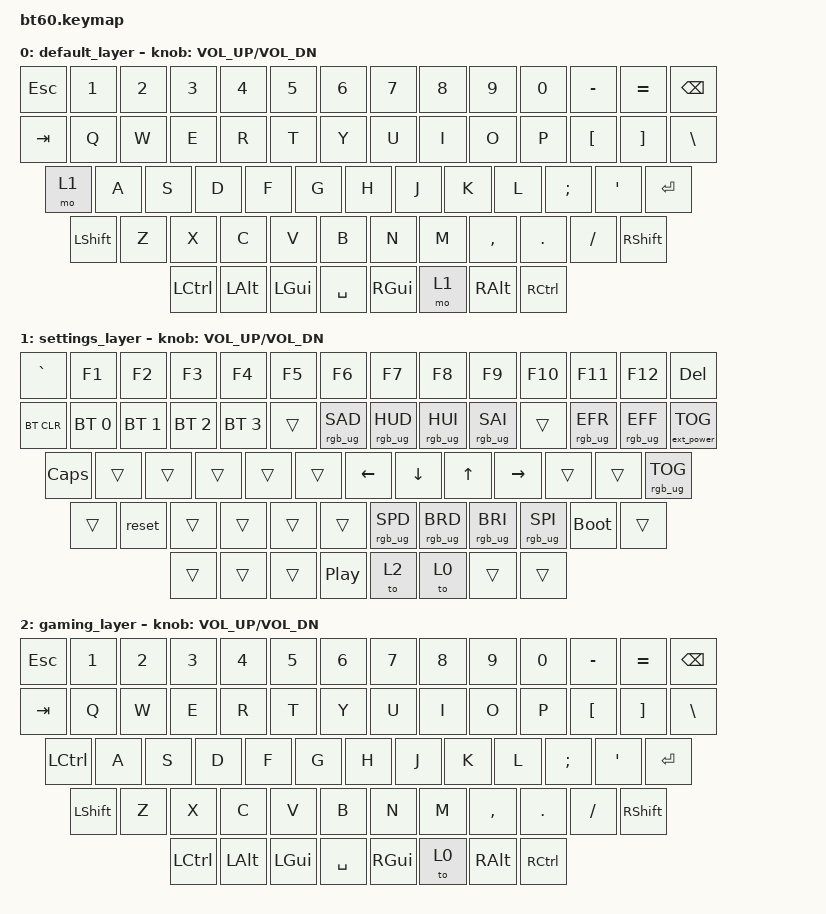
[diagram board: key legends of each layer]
#include <behaviors.dtsi>
#include <dt-bindings/zmk/keys.h>
#include <dt-bindings/zmk/bt.h>
#include <dt-bindings/zmk/rgb.h>
#include <dt-bindings/zmk/backlight.h>
#include <dt-bindings/zmk/outputs.h>
#include <dt-bindings/zmk/reset.h>
#include <dt-bindings/zmk/ext_power.h>

/ {
	keymap {
		compatible = "zmk,keymap";

		default_layer {
				// ------------------------------------------------------------------------------------------
				// |  `  |  1  |  2  |  3  |  4  |  5  |  6  |  7  |  8  |  9  |  0  |  -  |  =  |   BKSP
				// | TAB  |  Q  |  W  |  E  |  R  |  T  |  Y  |  U  |  I  |  O  |  P  |  [  |  ]  |   |
				// | MO(1)  |  A  |  S  |  D  |  F  |  G  |  H  |  J  |  K  |  L  |  ;  |  '  |     ENTER
				// |  SHIFT    |  Z  |  X  |  C  |  V  |  B  |  N  |  M  |  ,  |  .  | /   |      SHIFT
				// |  CTL  |  ALT  |  WIN  |            SPACE               |  WIN  | MO(1) |  ALT  |  CTRL
				// ------------------------------------------------------------------------------------------
			bindings = <

				&kp ESC &kp N1 &kp N2 &kp N3 &kp N4 &kp N5 &kp N6 &kp N7 &kp  N8   &kp  N9 &kp  N0  &kp MINUS &kp EQUAL &kp BSPC
				&kp TAB  &kp Q  &kp W  &kp E  &kp R  &kp T  &kp Y  &kp U  &kp  I    &kp  O  &kp  P   &kp LBKT &kp RBKT   &kp BSLH
				&mo 1    &kp A  &kp S  &kp D  &kp F  &kp G  &kp H  &kp J  &kp  K    &kp  L  &kp SEMI &kp SQT            &kp RET
				&kp LSHFT  &kp Z  &kp X  &kp C  &kp V  &kp B  &kp N  &kp M  &kp COMMA &kp DOT &kp FSLH                   &kp RSHFT
				&kp LCTRL &kp LALT &kp LGUI            &kp SPACE                          &kp RGUI  &mo 1  &kp RALT   &kp RCTRL
			>;
			sensor-bindings = <&inc_dec_kp C_VOL_UP C_VOL_DN>;
		};
		settings_layer {
// --------------------------------------------------------------------------------------------------------------------------------------
// |   `~   |   F1   |   F2   |   F3   |   F4   |   F5   |   F6   |   F7   |   F8   |   F9   |  F10   |  F11   |  F12   |      DEL      |
// |   BTCLR    |  BT 0  |  BT 1  |  BT 2  |  BT 3  |        | SATDN  | HUEDN  | HUEUP  | SATUP  |        | EF REV | EF FWD | EXTPW TOG |
// |     CAPS     |        |        |        |        |        |   LT   |   DN   |   UP   |   RT   |        |        |     RGB TOG      |
// |                  | RESET  |        |        |        |        | SPDDN  | BRIDN  | BRIUP  | SPDUP  | BT LDR |                       |
// |          |          |          |                      PLAY/PAUSE                        |   TO(2)  |  TO(0)   |         |          |
// --------------------------------------------------------------------------------------------------------------------------------------
			bindings = <
	&kp GRAVE &kp F1    &kp F2          &kp F3         &kp F4      &kp F5  &kp F6          &kp F7           &kp F8          &kp F9            &kp F10  &kp F11          &kp F12  &kp DEL
	&bt BT_CLR  &bt BT_SEL 0 &bt BT_SEL 1 &bt BT_SEL 2 &bt BT_SEL 3 &trans &rgb_ug RGB_SAD &rgb_ug RGB_HUD  &rgb_ug RGB_HUI &rgb_ug RGB_SAI   &trans   &rgb_ug RGB_EFR  &rgb_ug RGB_EFF &ext_power EP_TOG
	&kp CLCK      &trans       &trans       &trans       &trans       &trans &kp LEFT        &kp DOWN          &kp UP          &kp RIGHT        &trans   &trans           &rgb_ug RGB_TOG
	&trans         &reset       &trans       &trans       &trans       &trans                 &rgb_ug RGB_SPD   &rgb_ug RGB_BRD   &rgb_ug RGB_BRI  &rgb_ug RGB_SPI   &bootloader        &trans
	&trans          &trans    &trans                                          &kp C_PP                                             &to 2             &to 0            &trans              &trans
			>;
			sensor-bindings = <&inc_dec_kp C_VOL_UP C_VOL_DN>;
		};
		
		gaming_layer {
// ------------------------------------------------------------------------------------------
// | ESC |  1  |  2  |  3  |  4  |  5  |  6  |  7  |  8  |  9  |  0  |  -  |  =  |   BKSP   |
// | TAB  |  Q  |  W  |  E  |  R  |  T  |  Y  |  U  |  I  |  O  |  P  |  [  |  ]  |   "|"   |
// | CTL  |  A  |  S  |  D  |  F  |  G  |  H  |  J  |  K  |  L  |  ;  |  '  |     ENTER    |
// |  SHIFT  |  Z  |  X  |  C  |  V  |  B  |  N  |  M  |  ,  |  .  |  /  |      SHIFT       |
// |  CTL  |  ALT  |  WIN  |            SPACE              |  ALT  |  WIN  |  TO(0) |  CTL  |
// ------------------------------------------------------------------------------------------
			bindings = <
	&kp ESC  &kp N1 &kp N2 &kp N3 &kp N4 &kp N5 &kp N6 &kp N7 &kp N8 &kp N9 &kp N0 &kp MINUS &kp EQUAL  &kp BSPC
	&kp TAB  &kp Q  &kp W  &kp E  &kp R  &kp T  &kp Y  &kp U  &kp I  &kp O  &kp P  &kp LBKT  &kp RBKT  &kp BSLH
	&kp LCTRL     &kp A  &kp S  &kp D  &kp F  &kp G  &kp H  &kp J  &kp K  &kp L  &kp SEMI &kp SQT           &kp RET
	&kp LSHFT   &kp Z  &kp X  &kp C  &kp V  &kp B  &kp N  &kp M  &kp COMMA &kp DOT &kp FSLH           &kp RSHFT
	&kp LCTRL &kp LALT &kp LGUI             &kp SPACE                     &kp RGUI  &to 0  &kp RALT  &kp RCTRL
			>;
			sensor-bindings = <&inc_dec_kp C_VOL_UP C_VOL_DN>;
		};
	};
};
